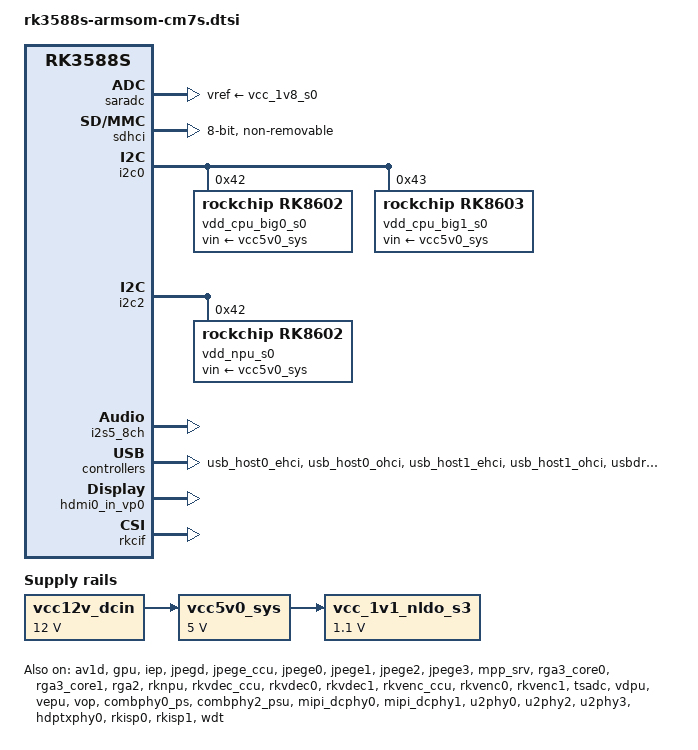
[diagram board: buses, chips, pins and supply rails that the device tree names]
// SPDX-License-Identifier: (GPL-2.0+ OR MIT)
/*
 * Copyright (c) 2021 Rockchip Electronics Co., Ltd.
 *
 */

#include <dt-bindings/gpio/gpio.h>
#include <dt-bindings/pinctrl/rockchip.h>
#include <dt-bindings/display/rockchip_vop.h>
#include "rk3588s.dtsi"
#include "rk3588-rk806-single.dtsi"
#include "rk3588-linux.dtsi"

/ {
	vcc12v_dcin: vcc12v-dcin {
		compatible = "regulator-fixed";
		regulator-name = "vcc12v_dcin";
		regulator-always-on;
		regulator-boot-on;
		regulator-min-microvolt = <12000000>;
		regulator-max-microvolt = <12000000>;
	};

	vcc5v0_sys: vcc5v0-sys {
		compatible = "regulator-fixed";
		regulator-name = "vcc5v0_sys";
		regulator-always-on;
		regulator-boot-on;
		regulator-min-microvolt = <5000000>;
		regulator-max-microvolt = <5000000>;
		vin-supply = <&vcc12v_dcin>;
	};

	vcc_1v1_nldo_s3: vcc-1v1-nldo-s3 {
		compatible = "regulator-fixed";
		regulator-name = "vcc_1v1_nldo_s3";
		regulator-always-on;
		regulator-boot-on;
		regulator-min-microvolt = <1100000>;
		regulator-max-microvolt = <1100000>;
		vin-supply = <&vcc5v0_sys>;
	};
};

&av1d {
	status = "okay";
};

&av1d_mmu {
	status = "okay";
};

&gpu {
	mali-supply = <&vdd_gpu_s0>;
	mem-supply = <&vdd_gpu_mem_s0>;
	status = "okay";
};

&iep {
	status = "okay";
};

&iep_mmu {
	status = "okay";
};

&jpegd {
	status = "okay";
};

&jpegd_mmu {
	status = "okay";
};

&jpege_ccu {
	status = "okay";
};

&jpege0 {
	status = "okay";
};

&jpege0_mmu {
	status = "okay";
};

&jpege1 {
	status = "okay";
};

&jpege1_mmu {
	status = "okay";
};

&jpege2 {
	status = "okay";
};

&jpege2_mmu {
	status = "okay";
};

&jpege3 {
	status = "okay";
};

&jpege3_mmu {
	status = "okay";
};

&mpp_srv {
	status = "okay";
};

&rga3_core0 {
	status = "okay";
};

&rga3_0_mmu {
	status = "okay";
};

&rga3_core1 {
	status = "okay";
};

&rga3_1_mmu {
	status = "okay";
};

&rga2 {
	status = "okay";
};

&rknpu {
	rknpu-supply = <&vdd_npu_s0>;
	mem-supply = <&vdd_npu_mem_s0>;
	status = "okay";
};

&rknpu_mmu {
	status = "okay";
};

&rkvdec_ccu {
	status = "okay";
};

&rkvdec0 {
	status = "okay";
};

&rkvdec0_mmu {
	status = "okay";
};

&rkvdec1 {
	status = "okay";
};

&rkvdec1_mmu {
	status = "okay";
};

&rkvenc_ccu {
	status = "okay";
};

&rkvenc0 {
	status = "okay";
};

&rkvenc0_mmu {
	status = "okay";
};

&rkvenc1 {
	status = "okay";
};

&rkvenc1_mmu {
	status = "okay";
};

&rockchip_suspend {
	status = "okay";
	rockchip,sleep-debug-en = <1>;
};

&saradc {
	status = "okay";
	vref-supply = <&vcc_1v8_s0>;
};

&sdhci {
	pinctrl-names = "default";
	pinctrl-0 = <&emmc_rstnout &emmc_bus8 &emmc_clk &emmc_cmd &emmc_data_strobe>;

	bus-width = <8>;
	no-sdio;
	no-sd;
	non-removable;
	max-frequency = <200000000>;
	mmc-hs400-1_8v;
	mmc-hs400-enhanced-strobe;
	status = "okay";
};

&tsadc {
	status = "okay";
};

&vdpu {
	status = "okay";
};

&vdpu_mmu {
	status = "okay";
};

&vepu {
	status = "okay";
};

&vop {
	status = "okay";
	disable-win-move;
	assigned-clocks = <&cru ACLK_VOP>;
	assigned-clock-rates = <800000000>;
};

&vop_mmu {
	status = "okay";
};

/* vp0 & vp1 splice for 8K output */
&vp0 {
	cursor-win-id = <ROCKCHIP_VOP2_ESMART0>;
	rockchip,plane-mask = <(1 << ROCKCHIP_VOP2_CLUSTER0 | 1 << ROCKCHIP_VOP2_ESMART0)>;
	rockchip,primary-plane = <ROCKCHIP_VOP2_CLUSTER0>;
};

&vp1 {
	cursor-win-id = <ROCKCHIP_VOP2_ESMART1>;
	rockchip,plane-mask = <(1 << ROCKCHIP_VOP2_CLUSTER1 | 1 << ROCKCHIP_VOP2_ESMART1)>;
	rockchip,primary-plane = <ROCKCHIP_VOP2_CLUSTER1>;
};

&vp2 {
	cursor-win-id = <ROCKCHIP_VOP2_ESMART2>;
	rockchip,plane-mask = <(1 << ROCKCHIP_VOP2_CLUSTER2 | 1 << ROCKCHIP_VOP2_ESMART2)>;
	rockchip,primary-plane = <ROCKCHIP_VOP2_CLUSTER2>;
};

&vp3 {
	cursor-win-id = <ROCKCHIP_VOP2_ESMART3>;
	rockchip,plane-mask = <(1 << ROCKCHIP_VOP2_CLUSTER3 | 1 << ROCKCHIP_VOP2_ESMART3)>;
	rockchip,primary-plane = <ROCKCHIP_VOP2_CLUSTER3>;
};

&display_subsystem {
	clocks = <&hdptxphy0>;
	clock-names = "hdmi0_phy_pll";
};

&cpu_l0 {
	cpu-supply = <&vdd_cpu_lit_s0>;
	mem-supply = <&vdd_cpu_lit_mem_s0>;
};

&cpu_b0 {
	cpu-supply = <&vdd_cpu_big0_s0>;
	mem-supply = <&vdd_cpu_big0_mem_s0>;
};

&cpu_b2 {
	cpu-supply = <&vdd_cpu_big1_s0>;
	mem-supply = <&vdd_cpu_big1_mem_s0>;
};

&combphy0_ps {
	status = "okay";
};

&combphy2_psu {
	status = "okay";
};

&mipi_dcphy0 {
	status = "okay";
};

&mipi_dcphy1 {
	status = "okay";
};

&i2c0 {
	status = "okay";
	pinctrl-names = "default";
	pinctrl-0 = <&i2c0m2_xfer>;

	vdd_cpu_big0_s0: vdd_cpu_big0_mem_s0: rk8602@42 {
		compatible = "rockchip,rk8602";
		reg = <0x42>;
		vin-supply = <&vcc5v0_sys>;
		regulator-compatible = "rk860x-reg";
		regulator-name = "vdd_cpu_big0_s0";
		regulator-min-microvolt = <550000>;
		regulator-max-microvolt = <1050000>;
		regulator-ramp-delay = <2300>;
		rockchip,suspend-voltage-selector = <1>;
		regulator-boot-on;
		regulator-always-on;
		regulator-state-mem {
			regulator-off-in-suspend;
		};
	};

	vdd_cpu_big1_s0: vdd_cpu_big1_mem_s0: rk8603@43 {
		compatible = "rockchip,rk8603";
		reg = <0x43>;
		vin-supply = <&vcc5v0_sys>;
		regulator-compatible = "rk860x-reg";
		regulator-name = "vdd_cpu_big1_s0";
		regulator-min-microvolt = <550000>;
		regulator-max-microvolt = <1050000>;
		regulator-ramp-delay = <2300>;
		rockchip,suspend-voltage-selector = <1>;
		regulator-boot-on;
		regulator-always-on;
		regulator-state-mem {
			regulator-off-in-suspend;
		};
	};
};

&i2c2 {
	status = "okay";
	pinctrl-names = "default";
	pinctrl-0 = <&i2c2m0_xfer>;

	vdd_npu_s0: vdd_npu_mem_s0: rk8602@42 {
		compatible = "rockchip,rk8602";
		reg = <0x42>;
		vin-supply = <&vcc5v0_sys>;
		regulator-compatible = "rk860x-reg";
		regulator-name = "vdd_npu_s0";
		regulator-min-microvolt = <550000>;
		regulator-max-microvolt = <950000>;
		regulator-ramp-delay = <2300>;
		rockchip,suspend-voltage-selector = <1>;
		regulator-boot-on;
		regulator-always-on;
		regulator-state-mem {
			regulator-off-in-suspend;
		};
	};
};

&i2s5_8ch {
	status = "okay";
};

&u2phy0 {
	status = "okay";
};

&u2phy2 {
	status = "okay";
};

&u2phy3 {
	status = "okay";
};

&usb_host0_ehci {
	status = "okay";
};

&usb_host0_ohci {
	status = "okay";
};

&usb_host1_ehci {
	status = "okay";
};

&usb_host1_ohci {
	status = "okay";
};

&usbdrd3_0 {
	status = "okay";
};

&hdptxphy0 {
	status = "okay";
};

&hdmi0_in_vp0 {
	status = "okay";
};

&rkcif {
	status = "okay";
};

&rkcif_mmu {
	status = "okay";
};

&rkisp0 {
	status = "okay";
};

&isp0_mmu {
	status = "okay";
};

&rkisp1 {
	status = "okay";
};

&isp1_mmu {
	status = "okay";
};

/* watchdog */
&wdt {
	status = "okay";
};
